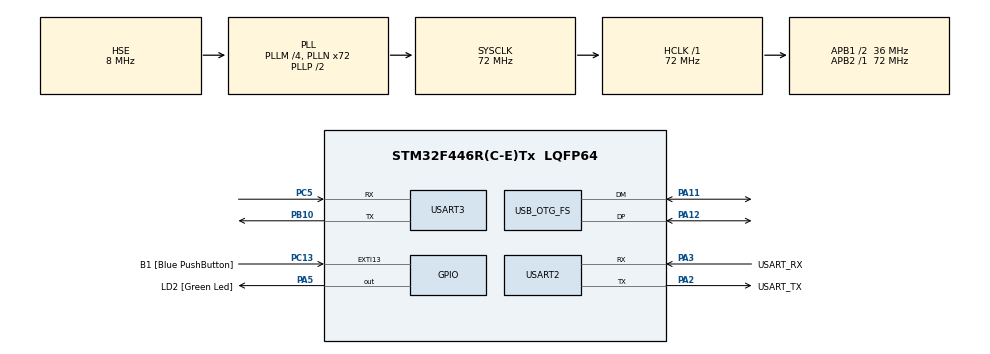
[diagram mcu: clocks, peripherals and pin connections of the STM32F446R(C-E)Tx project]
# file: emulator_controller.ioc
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Mcu.Family=STM32F4
USB_DEVICE.CLASS_NAME_FS=HID
PH0-OSC_IN.Signal=RCC_OSC_IN
RCC.CortexFreq_Value=72000000
PB10.Mode=Asynchronous
PA14.GPIO_Label=TCK
PA11.Mode=Device_Only
PC5.Mode=Asynchronous
PC13.GPIO_Label=B1 [Blue PushButton]
RCC.SYSCLKSource=RCC_SYSCLKSOURCE_PLLCLK
ProjectManager.StackSize=0x400
VP_FREERTOS_VS_CMSIS_V2.Mode=CMSIS_V2
PA12.Signal=USB_OTG_FS_DP
RCC.HCLKFreq_Value=72000000
RCC.APB2TimFreq_Value=144000000
RCC.AHBFreq_Value=72000000
PH0-OSC_IN.Mode=HSE-External-Oscillator
RCC.HSE_VALUE=8000000
PC14-OSC32_IN.Mode=LSE-External-Oscillator
PA14.Mode=Serial_Wire
NVIC.TIM2_IRQn=true\:0\:0\:false\:false\:true\:false\:false\:true
RCC.FLatency-AdvancedSettings=FLASH_LATENCY_2
PH1-OSC_OUT.Mode=HSE-External-Oscillator
Mcu.Package=LQFP64
VP_SYS_VS_tim2.Mode=TIM2
NVIC.TimeBase=TIM2_IRQn
USART2.VirtualMode=VM_ASYNC
NVIC.OTG_FS_IRQn=true\:5\:0\:false\:false\:true\:true\:false\:true
PA2.GPIO_Label=USART_TX
NVIC.TimeBaseIP=TIM2
USB_OTG_FS.VirtualMode=Device_Only
RCC.APB1TimFreq_Value=72000000
PC5.Signal=USART3_RX
PA3.Signal=USART2_RX
PB3.GPIO_Label=SWO
PC15-OSC32_OUT.Mode=LSE-External-Oscillator
FREERTOS.Tasks01=defaultTask,24,128,StartDefaultTask,Default,NULL,Dynamic,NULL,NULL
USB_DEVICE.VirtualModeFS=Hid_FS
PC13.Signal=GPXTI13
RCC.APB1CLKDivider=RCC_HCLK_DIV2
PC14-OSC32_IN.Signal=RCC_OSC32_IN
PA13.Signal=SYS_JTMS-SWDIO
PA3.Mode=Asynchronous
ProjectManager.TargetToolchain=STM32CubeIDE
RCC.USBFreq_Value=48000000
PC15-OSC32_OUT.Signal=RCC_OSC32_OUT
PB10.Signal=USART3_TX
PA5.Signal=GPIO_Output
board=NUCLEO-F446RE
RCC.VCOOutputFreq_Value=144000000
VP_USB_DEVICE_VS_USB_DEVICE_HID_FS.Mode=HID_FS
RCC.APB2Freq_Value=72000000
PH1-OSC_OUT.Signal=RCC_OSC_OUT
PA13.Mode=Serial_Wire
Mcu.Name=STM32F446R(C-E)Tx
PA13.GPIO_Label=TMS
PA2.Signal=USART2_TX
RCC.APB2TimCLKDivider=2
RCC.48MHZClocksFreq_Value=84000000
PB3.Signal=SYS_JTDO-SWO
RCC.SYSCLKFreq_VALUE=72000000
PA12.Mode=Device_Only
PA5.GPIO_Label=LD2 [Green Led]
PC13.GPIO_ModeDefaultEXTI=GPIO_MODE_IT_FALLING
USART3.VirtualMode=VM_ASYNC
PA11.Signal=USB_OTG_FS_DM
PA14.Signal=SYS_JTCK-SWCLK
ProjectManager.HeapSize=0x200
RCC.HSI_VALUE=16000000
RCC.PLLQ=3
NVIC.PriorityGroup=NVIC_PRIORITYGROUP_4
RCC.PLLM=4
RCC.PLLN=72
PA2.Mode=Asynchronous
RCC.APB1Freq_Value=36000000
PA3.GPIO_Label=USART_RX
USB_DEVICE.VirtualMode-HID_FS=Hid

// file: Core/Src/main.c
/* USER CODE BEGIN Header */
/**
  ******************************************************************************
  * @file           : main.c
  * @brief          : Main program body
  ******************************************************************************
  * @attention
  *
  * <h2><center>&copy; Copyright (c) 2021 STMicroelectronics.
  * All rights reserved.</center></h2>
  *
  * This software component is licensed by ST under Ultimate Liberty license
  * SLA0044, the "License"; You may not use this file except in compliance with
  * the License. You may obtain a copy of the License at:
  *                             www.st.com/SLA0044
  *
  ******************************************************************************
  */
/* USER CODE END Header */
#include "main.h"
#include "cmsis_os.h"
#include "usb_device.h"

/* USER CODE BEGIN Includes */
#include "usbd_hid.h"
/* USER CODE END Includes */

UART_HandleTypeDef huart2;
UART_HandleTypeDef huart3;

/* Definitions for defaultTask */
//osThreadId_t defaultTaskHandle;
//const osThreadAttr_t defaultTask_attributes = {
//  .name = "defaultTask",
//  .priority = (osPriority_t) osPriorityNormal,
//  .stack_size = 128 * 4
//};
/* USER CODE BEGIN PV */
extern USBD_HandleTypeDef hUsbDeviceFS;

struct mouseHID_t{
		uint8_t buttons;
		int8_t x;
		int8_t y;
		int8_t wheel;
	};

/* USER CODE END PV */

void SystemClock_Config(void);
static void MX_GPIO_Init(void);
static void MX_USART2_UART_Init(void);
static void MX_USART3_UART_Init(void);

//void StartDefaultTask(void *argument);

/* USER CODE BEGIN PFP */
void threadLed(void *argument);
void threadOne(void *argument);
/* USER CODE END PFP */

int main(void)
{

  /* MCU Configuration--------------------------------------------------------*/

  /* Reset of all peripherals, Initializes the Flash interface and the Systick. */
  HAL_Init();

  /* Configure the system clock */
  SystemClock_Config();

  /* Initialize all configured peripherals */
  MX_GPIO_Init();
  MX_USART2_UART_Init();
  MX_USART3_UART_Init();
  /* USER CODE BEGIN 2 */
  MX_USB_DEVICE_Init();
  /* USER CODE END 2 */

  /* Init scheduler */
  osKernelInitialize();

  /* Create the thread(s) */
  /* creation of defaultTask */
  //defaultTaskHandle = osThreadNew(StartDefaultTask, NULL, &defaultTask_attributes);

  /* USER CODE BEGIN RTOS_THREADS */
  /* add threads, ... */
  osThreadNew(threadLed,NULL,NULL);
  osThreadNew(threadOne,NULL,NULL);
  /* USER CODE END RTOS_THREADS */

  /* Start scheduler */
  osKernelStart();

  /* We should never get here as control is now taken by the scheduler */
  /* Infinite loop */
  while (1)
  {

  }
}

void SystemClock_Config(void)
{
  RCC_OscInitTypeDef RCC_OscInitStruct = {0};
  RCC_ClkInitTypeDef RCC_ClkInitStruct = {0};
  RCC_PeriphCLKInitTypeDef PeriphClkInitStruct = {0};

  /** Configure the main internal regulator output voltage
  */
  __HAL_RCC_PWR_CLK_ENABLE();
  __HAL_PWR_VOLTAGESCALING_CONFIG(PWR_REGULATOR_VOLTAGE_SCALE3);
  /** Initializes the RCC Oscillators according to the specified parameters
  * in the RCC_OscInitTypeDef structure.
  */
  RCC_OscInitStruct.OscillatorType = RCC_OSCILLATORTYPE_HSE;
  RCC_OscInitStruct.HSEState = RCC_HSE_ON;
  RCC_OscInitStruct.PLL.PLLState = RCC_PLL_ON;
  RCC_OscInitStruct.PLL.PLLSource = RCC_PLLSOURCE_HSE;
  RCC_OscInitStruct.PLL.PLLM = 4;
  RCC_OscInitStruct.PLL.PLLN = 72;
  RCC_OscInitStruct.PLL.PLLP = RCC_PLLP_DIV2;
  RCC_OscInitStruct.PLL.PLLQ = 3;
  RCC_OscInitStruct.PLL.PLLR = 2;
  if (HAL_RCC_OscConfig(&RCC_OscInitStruct) != HAL_OK)
  {
    Error_Handler();
  }
  /** Initializes the CPU, AHB and APB buses clocks
  */
  RCC_ClkInitStruct.ClockType = RCC_CLOCKTYPE_HCLK|RCC_CLOCKTYPE_SYSCLK
                              |RCC_CLOCKTYPE_PCLK1|RCC_CLOCKTYPE_PCLK2;
  RCC_ClkInitStruct.SYSCLKSource = RCC_SYSCLKSOURCE_PLLCLK;
  RCC_ClkInitStruct.AHBCLKDivider = RCC_SYSCLK_DIV1;
  RCC_ClkInitStruct.APB1CLKDivider = RCC_HCLK_DIV2;
  RCC_ClkInitStruct.APB2CLKDivider = RCC_HCLK_DIV1;

  if (HAL_RCC_ClockConfig(&RCC_ClkInitStruct, FLASH_LATENCY_2) != HAL_OK)
  {
    Error_Handler();
  }
  PeriphClkInitStruct.PeriphClockSelection = RCC_PERIPHCLK_CLK48;
  PeriphClkInitStruct.Clk48ClockSelection = RCC_CLK48CLKSOURCE_PLLQ;
  if (HAL_RCCEx_PeriphCLKConfig(&PeriphClkInitStruct) != HAL_OK)
  {
    Error_Handler();
  }
}

static void MX_USART2_UART_Init(void)
{

  huart2.Instance = USART2;
  huart2.Init.BaudRate = 115200;
  huart2.Init.WordLength = UART_WORDLENGTH_8B;
  huart2.Init.StopBits = UART_STOPBITS_1;
  huart2.Init.Parity = UART_PARITY_NONE;
  huart2.Init.Mode = UART_MODE_TX_RX;
  huart2.Init.HwFlowCtl = UART_HWCONTROL_NONE;
  huart2.Init.OverSampling = UART_OVERSAMPLING_16;
  if (HAL_UART_Init(&huart2) != HAL_OK)
  {
    Error_Handler();
  }

}

static void MX_USART3_UART_Init(void)
{

  huart3.Instance = USART3;
  huart3.Init.BaudRate = 115200;
  huart3.Init.WordLength = UART_WORDLENGTH_8B;
  huart3.Init.StopBits = UART_STOPBITS_1;
  huart3.Init.Parity = UART_PARITY_NONE;
  huart3.Init.Mode = UART_MODE_TX_RX;
  huart3.Init.HwFlowCtl = UART_HWCONTROL_NONE;
  huart3.Init.OverSampling = UART_OVERSAMPLING_16;
  if (HAL_UART_Init(&huart3) != HAL_OK)
  {
    Error_Handler();
  }

}

static void MX_GPIO_Init(void)
{
  GPIO_InitTypeDef GPIO_InitStruct = {0};

  /* GPIO Ports Clock Enable */
  __HAL_RCC_GPIOC_CLK_ENABLE();
  __HAL_RCC_GPIOH_CLK_ENABLE();
  __HAL_RCC_GPIOA_CLK_ENABLE();
  __HAL_RCC_GPIOB_CLK_ENABLE();

  /*Configure GPIO pin Output Level */
  HAL_GPIO_WritePin(LD2_GPIO_Port, LD2_Pin, GPIO_PIN_RESET);

  /*Configure GPIO pin : B1_Pin */
  GPIO_InitStruct.Pin = B1_Pin;
  GPIO_InitStruct.Mode = GPIO_MODE_IT_FALLING;
  GPIO_InitStruct.Pull = GPIO_NOPULL;
  HAL_GPIO_Init(B1_GPIO_Port, &GPIO_InitStruct);

  /*Configure GPIO pin : LD2_Pin */
  GPIO_InitStruct.Pin = LD2_Pin;
  GPIO_InitStruct.Mode = GPIO_MODE_OUTPUT_PP;
  GPIO_InitStruct.Pull = GPIO_NOPULL;
  GPIO_InitStruct.Speed = GPIO_SPEED_FREQ_LOW;
  HAL_GPIO_Init(LD2_GPIO_Port, &GPIO_InitStruct);

}

/* USER CODE BEGIN 4 */
void threadLed(void *argument){
	while(1){
		HAL_GPIO_TogglePin(LD2_GPIO_Port,LD2_Pin);
		HAL_Delay(1000);
	}
}

void threadOne(void *argument){
	struct mouseHID_t mouseHID;
	while(1){
		mouseHID.buttons = 0;
		mouseHID.x = 10;
		mouseHID.y = 0;
		mouseHID.wheel = 0;
		USBD_HID_SendReport(&hUsbDeviceFS, (uint8_t*)&mouseHID, sizeof(struct mouseHID_t));
		HAL_Delay(1000);
	}
}

/* USER CODE END 4 */

//void StartDefaultTask(void *argument)
//{
  /* init code for USB_DEVICE */
//  MX_USB_DEVICE_Init();
  /* USER CODE BEGIN 5 */
//  /* Infinite loop */
//  for(;;)
//  {
//    osDelay(1);
//  }
  /* USER CODE END 5 */
//}

 /**
  * @brief  Period elapsed callback in non blocking mode
  * @note   This function is called  when TIM2 interrupt took place, inside
  * HAL_TIM_IRQHandler(). It makes a direct call to HAL_IncTick() to increment
  * a global variable "uwTick" used as application time base.
  * @param  htim : TIM handle
  * @retval None
  */
void HAL_TIM_PeriodElapsedCallback(TIM_HandleTypeDef *htim)
{
  if (htim->Instance == TIM2) {
    HAL_IncTick();
  }
}

void Error_Handler(void)
{
  __disable_irq();
  while (1)
  {
  }
}

/************************ (C) COPYRIGHT STMicroelectronics *****END OF FILE****/
